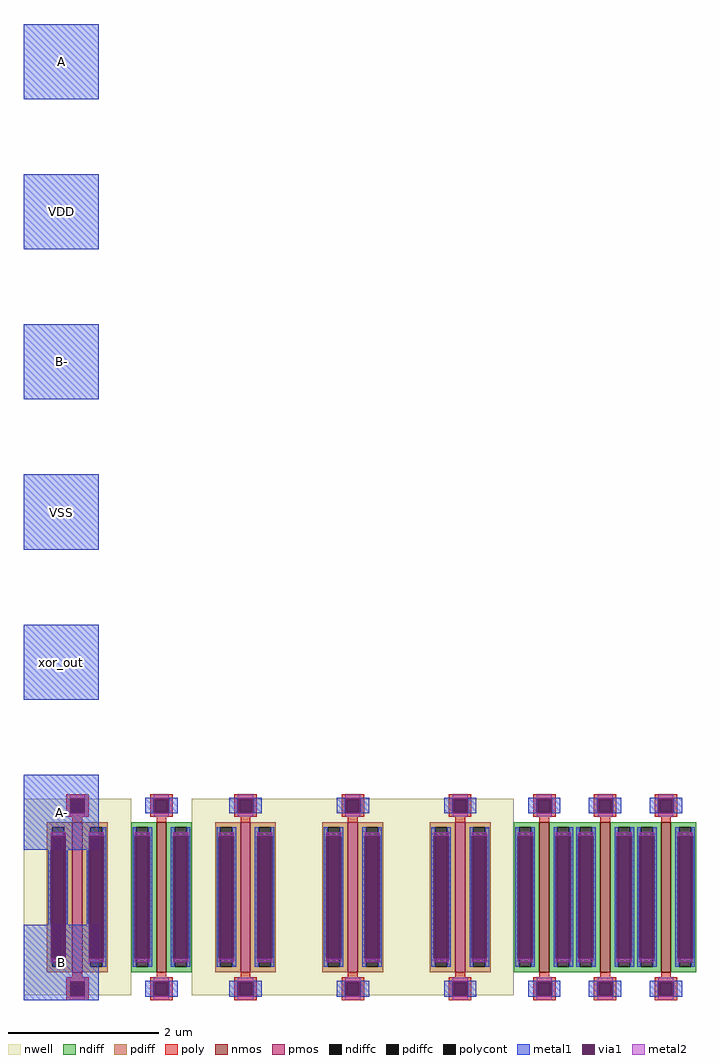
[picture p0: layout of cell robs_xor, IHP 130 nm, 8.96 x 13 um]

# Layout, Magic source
magic
tech ihp-sg13cmos5l
magscale 1 2
<< metal1 >>
rect 0 0 200 200
rect 0 -400 200 -200
rect 0 -800 200 -600
rect 0 -1200 200 -1000
rect 0 -1600 200 -1400
rect 0 -2000 200 -1800
rect 0 -2400 200 -2200
use sg13_lv_pmos_9M4XBB  XM1
transform 1 0 591 0 1 -2126
box -143 -274 143 274
use sg13_lv_pmos_9M4XBB  XM2
transform 1 0 877 0 1 -2126
box -143 -274 143 274
use sg13_lv_pmos_9M4XBB  XM3
transform 1 0 1163 0 1 -2126
box -143 -274 143 274
use sg13_lv_nmos_S6LAQ4  XM4
transform 1 0 1387 0 1 -2126
box -81 -274 81 274
use sg13_lv_pmos_9M4XBB  XM5
transform 1 0 143 0 1 -2126
box -143 -274 143 274
use sg13_lv_nmos_S6LAQ4  XM6
transform 1 0 367 0 1 -2126
box -81 -274 81 274
use sg13_lv_nmos_S6LAQ4  XM7
transform 1 0 1549 0 1 -2126
box -81 -274 81 274
use sg13_lv_nmos_S6LAQ4  XM8
transform 1 0 1711 0 1 -2126
box -81 -274 81 274
<< labels >>
flabel metal1 0 0 200 200 0 FreeSans 1600 0 0 0 A
port 0 nsew
flabel metal1 0 -400 200 -200 0 FreeSans 1600 0 0 0 VDD
port 1 nsew
flabel metal1 0 -800 200 -600 0 FreeSans 1600 0 0 0 B-
port 2 nsew
flabel metal1 0 -1200 200 -1000 0 FreeSans 1600 0 0 0 VSS
port 3 nsew
flabel metal1 0 -1600 200 -1400 0 FreeSans 1600 0 0 0 xor_out
port 4 nsew
flabel metal1 0 -2000 200 -1800 0 FreeSans 1600 0 0 0 A-
port 5 nsew
flabel metal1 0 -2400 200 -2200 0 FreeSans 1600 0 0 0 B
port 6 nsew
<< end >>

# cell sg13_lv_pmos_9M4XBB: kit device sg13_lv_pmos, w 2.0 l 0.13 m 1 ng 1 diffcov 100 polycov 100 guard 0 glc 1 grc 1 gtc 1 gbc 1 tbcov 100 rlcov 100 topc 1 botc 1 poverlap 0 doverlap 1 lmin 0.13 wmin 0.15 class mosfet compatible {sg13_lv_pmos sg13_hv_pmos} full_metal 1 conn_gates 0 gate_ring 0 ccols 1 viasrc 100 viadrn 100 viagate 100 viagb 0 viagr 0 viagl 0 viagt 0 doports 1 mm_ok 1

# cell sg13_lv_nmos_S6LAQ4: kit device sg13_lv_nmos, w 2.0 l 0.13 m 1 ng 1 diffcov 100 polycov 100 guard 0 glc 1 grc 1 gtc 1 gbc 1 tbcov 100 rlcov 100 topc 1 botc 1 poverlap 0 doverlap 1 lmin 0.13 wmin 0.15 class mosfet compatible {sg13_lv_nmos sg13_hv_nmos} full_metal 1 conn_gates 0 gate_ring 0 doports 1 viasrc 100 viadrn 100 viagate 100 ccols 1 viagb 0 viagr 0 viagl 0 viagt 0 mm_ok 1
